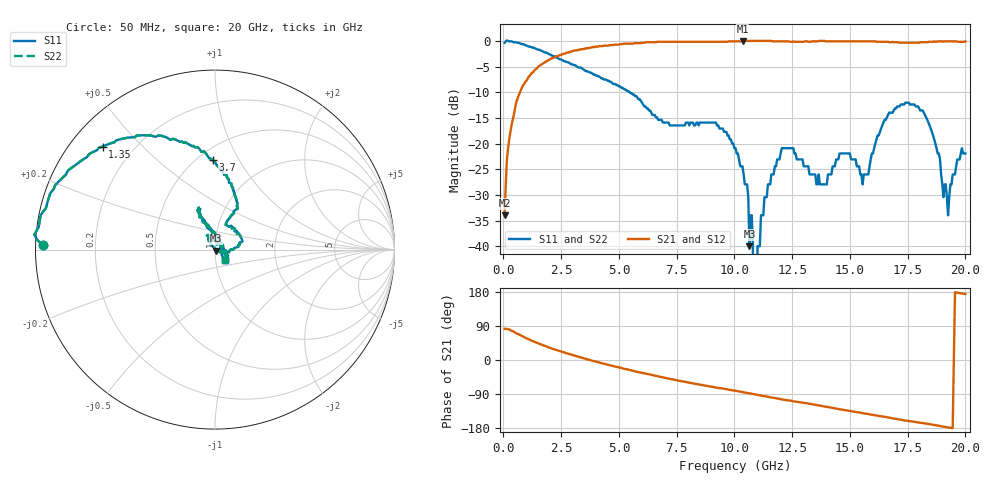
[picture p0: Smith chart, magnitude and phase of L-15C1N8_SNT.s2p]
# MHZ S MA R 50
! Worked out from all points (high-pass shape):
!   400 points, 50 MHz to 20 GHz, reference 50 ohm
!   highest |S21| = 0.00 dB at 10.35 GHz (marker M1); lowest = -34.0 dB at 50 MHz (marker M2)
!   |S21| within 3 dB of the highest: 2.29 GHz to end of sweep
!   lowest |S11| = -40.0 dB at 10.65 GHz (marker M3), VSWR 1.02, Z = 50.7 - j0.678 ohm
!   |S11| at or under -10 dB: 5.469 GHz to end of sweep
!   |S22| runs from - to 0.1 dB; largest |S21 - S12| = 0
!   S11 on the Smith chart (normalised r, x): 50 MHz: 0.02, +0.01; 1.35 GHz: 0.09, +0.39; 3.7 GHz: 0.59, +0.78; 20 GHz: 1.10, -0.13
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50  0.96 178.6  0.02 82.3  0.02 82.3  0.96 178.6
550  0.97 161.1  0.25 70.6  0.25 70.6  0.97 161.1
1350  0.85 137.5  0.52 48.0  0.52 48.0  0.85 137.5
3400  0.54 95.6  0.83 5.7  0.83 5.7  0.54 95.6
3700  0.5 91.5  0.85 0.7  0.85 0.7  0.5 91.5
6700  0.17 66.7  0.98 -43.1  0.98 -43.1  0.17 66.7
10050  0.09 1.4  0.99 -81.1  0.99 -81.1  0.09 1.4
10350  0.06 -15.0  1 -84.7  1 -84.7  0.06 -15.0
10650  0.01 -41.9  1 -87.9  1 -87.9  0.01 -41.9
10800  0.01 -32.0  1 -89.7  1 -89.7  0.01 -32.0
10850  0 -45.8  1 -90.3  1 -90.3  0 -45.8
10950  0 60.2  1 -91.5  1 -91.5  0 60.2
11000  0.01 91.4  1 -92.1  1 -92.1  0.01 91.4
11300  0.03 130.1  1 -95.3  1 -95.3  0.03 130.1
13350  0.05 101.0  0.99 -116.5  0.99 -116.5  0.05 101.0
15550  0.04 20.7  0.99 -140.3  0.99 -140.3  0.04 20.7
16700  0.2 113.9  0.97 -152.2  0.97 -152.2  0.2 113.9
19250  0.02 -19.7  0.99 -177.8  0.99 -177.8  0.02 -19.7
19450  0.05 -39.3  0.99 -179.9  0.99 -179.9  0.05 -39.3
19500  0.05 -39.6  0.99 -0.5  0.99 -0.5  0.05 -39.6
19550  0.05 -39.9  0.99 178.8  0.99 178.8  0.05 -39.9
20000  0.08 -48.1  0.99 174.2  0.99 174.2  0.08 -48.1
